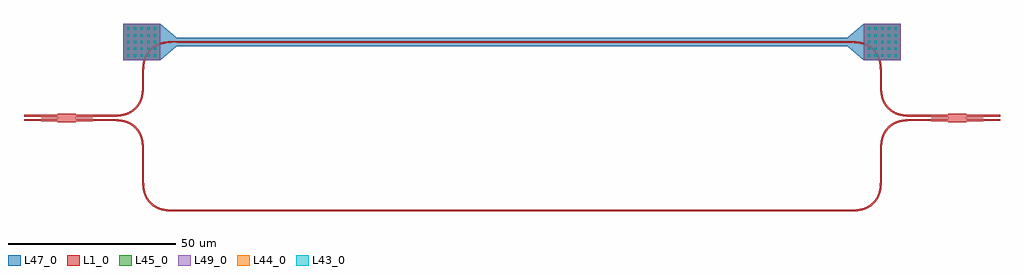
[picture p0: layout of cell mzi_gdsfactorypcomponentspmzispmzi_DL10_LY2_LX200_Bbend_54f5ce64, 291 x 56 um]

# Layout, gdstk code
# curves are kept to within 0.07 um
from math import pi, radians
import gdstk
lib = gdstk.Library(unit=1e-6, precision=1e-09)
def R(c, l, rs):  # rectangles x0, y0, x1, y1
    for r in rs: c.add(gdstk.rectangle(r[:2], r[2:], *l))
def A(c, l, x, y, w, h, nx, ny, dx, dy):  # array of equal rectangles
    R(c, l, [(x+i*dx, y+j*dy, x+i*dx+w, y+j*dy+h) for i in range(nx) for j in range(ny)])
def P(c, l, *ps):  # polygons
    for p in ps: c.add(gdstk.Polygon(p, *l))
L1_0 = (1, 0)
L43_0 = (43, 0)
L44_0 = (44, 0)
L45_0 = (45, 0)
L47_0 = (47, 0)
L49_0 = (49, 0)

mmi2x2_gdsfactorypcompon = lib.new_cell('mmi2x2_gdsfactorypcomponentspmmispmmi2x2_WNone_WT1_LT10_d84946bc')
P(mmi2x2_gdsfactorypcompon, L1_0, [(0,-1.25),(0,-1.125),(-10,-0.875),(-10,-0.375),(0,-0.125),(0,0.125),(-10,0.375),(-10,0.875),(0,1.125),(0,1.25),(5.5,1.25),(5.5,1.125),(15.5,0.875),(15.5,0.375),(5.5,0.125),(5.5,-0.125),(15.5,-0.375),(15.5,-0.875),(5.5,-1.125),(5.5,-1.25)])

bend_euler_gdsfactorypco = lib.new_cell('bend_euler_gdsfactorypcomponentspbendspbend_euler_RNone_387600b2')
P(bend_euler_gdsfactorypco, L1_0, [(0,-0.25),(0,0.25),(2.881,0.353),(3.952,0.52),(4.99,0.806),(6.431,1.505),(7.575,2.425),(8.495,3.569),(9.194,5.01),(9.48,6.048),(9.647,7.119),(9.75,10),(10.25,10),(10.158,7.205),(9.797,5.254),(9.457,4.312),(9.066,3.545),(8.5,2.715),(7.928,2.072),(7.285,1.5),(6.455,0.934),(5.688,0.543),(4.746,0.203),(2.795,-0.158)])

straight_gdsfactorypcomp = lib.new_cell('straight_gdsfactorypcomponentspwaveguidespstraight_L2_N_815d3d03')
R(straight_gdsfactorypcomp, L1_0, [(0,-0.25,2,0.25)])

c_straight_gdsfactorypcomp = lib.new_cell('straight_gdsfactorypcomponentspwaveguidespstraight_L7_N_ecd9aecc')
R(c_straight_gdsfactorypcomp, L1_0, [(0,-0.25,7,0.25)])

straight_heater_metal_un = lib.new_cell('straight_heater_metal_undercut_gdsfactorypcomponentspwa_1d53e79c')
R(straight_heater_metal_un, L1_0, [(0,-0.25,200,0.25)])
A(straight_heater_metal_un, L43_0, -14.75, -4.35, 0.7, 0.7, 5, 5, 2, 2)
A(straight_heater_metal_un, L43_0, 206.05, -4.35, 0.7, 0.7, 5, 5, 2, 2)
A(straight_heater_metal_un, L44_0, -14.75, -4.35, 0.7, 0.7, 5, 5, 2, 2)
A(straight_heater_metal_un, L44_0, 206.05, -4.35, 0.7, 0.7, 5, 5, 2, 2)
R(straight_heater_metal_un, L45_0, [(-15.9,-5.5,-4.9,5.5), (204.9,-5.5,215.9,5.5)])
P(straight_heater_metal_un, L47_0, [(-15.9,-5.5),(-15.9,5.5),(-4.9,5.5),(0.1,1.25),(199.9,1.25),(204.9,5.5),(215.9,5.5),(215.9,-5.5),(204.9,-5.5),(199.9,-1.25),(0.1,-1.25),(-4.9,-5.5)])
R(straight_heater_metal_un, L49_0, [(-15.9,-5.5,-4.9,5.5), (204.9,-5.5,215.9,5.5)])

c_straight_gdsfactorypcomp_ = lib.new_cell('straight_gdsfactorypcomponentspwaveguidespstraight_L200_df487717')
R(c_straight_gdsfactorypcomp_, L1_0, [(0,-0.25,200,0.25)])

mzi_gdsfactorypcomponent = lib.new_cell('mzi_gdsfactorypcomponentspmzispmzi_DL10_LY2_LX200_Bbend_54f5ce64')
mzi_gdsfactorypcomponent.add(gdstk.Reference(mmi2x2_gdsfactorypcompon, (0,0)))
mzi_gdsfactorypcomponent.add(gdstk.Reference(bend_euler_gdsfactorypco, (15.5,-0.625), x_reflection=True))
mzi_gdsfactorypcomponent.add(gdstk.Reference(bend_euler_gdsfactorypco, (25.5,-17.625), rotation=3*pi/2))
mzi_gdsfactorypcomponent.add(gdstk.Reference(bend_euler_gdsfactorypco, (15.5,0.625)))
mzi_gdsfactorypcomponent.add(gdstk.Reference(bend_euler_gdsfactorypco, (35.5,22.625), rotation=pi))
mzi_gdsfactorypcomponent.add(gdstk.Reference(bend_euler_gdsfactorypco, (245.5,12.625), rotation=pi/2))
mzi_gdsfactorypcomponent.add(gdstk.Reference(bend_euler_gdsfactorypco, (245.5,10.625), rotation=3*pi/2))
mzi_gdsfactorypcomponent.add(gdstk.Reference(bend_euler_gdsfactorypco, (235.5,-27.625)))
mzi_gdsfactorypcomponent.add(gdstk.Reference(bend_euler_gdsfactorypco, (255.5,-0.625), rotation=pi))
mzi_gdsfactorypcomponent.add(gdstk.Reference(straight_gdsfactorypcomp, (25.5,10.625), rotation=pi/2))
mzi_gdsfactorypcomponent.add(gdstk.Reference(c_straight_gdsfactorypcomp, (25.5,-10.625), rotation=3*pi/2))
mzi_gdsfactorypcomponent.add(gdstk.Reference(straight_heater_metal_un, (35.5,22.625)))
mzi_gdsfactorypcomponent.add(gdstk.Reference(c_straight_gdsfactorypcomp_, (35.5,-27.625)))
mzi_gdsfactorypcomponent.add(gdstk.Reference(mmi2x2_gdsfactorypcompon, (271,0), rotation=pi, x_reflection=True))
mzi_gdsfactorypcomponent.add(gdstk.Reference(straight_gdsfactorypcomp, (245.5,10.625), rotation=pi/2))
mzi_gdsfactorypcomponent.add(gdstk.Reference(c_straight_gdsfactorypcomp, (245.5,-17.625), rotation=pi/2))

lib.write_gds('mzi_gdsfactorypcomponentspmzispmzi_DL10_LY2_LX200_Bbend_54f5ce64.gds')
